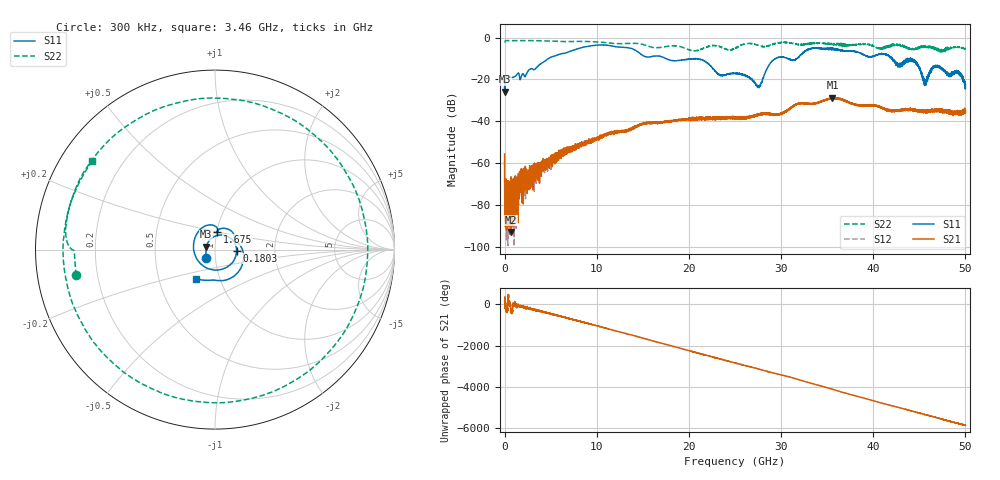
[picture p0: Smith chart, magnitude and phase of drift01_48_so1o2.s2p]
!Created with skrf (http://scikit-rf.org).
# Hz S RI R 50.0
!freq ReS11 ImS11 ReS21 ImS21 ReS12 ImS12 ReS22 ImS22
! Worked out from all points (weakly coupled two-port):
!   10001 points, 300 kHz to 50 GHz, reference 50 ohm
!   highest |S21| = -28.72 dB at 35.58 GHz (marker M1); lowest = -92.9 dB at 660.3 MHz (marker M2)
!   lowest |S11| = -25.8 dB at 5.3 MHz (marker M3), VSWR 1.11, Z = 45.3 + j1.4 ohm
!   |S11| at or under -10 dB: start of sweep to 4.768 GHz; 17.5 GHz to 29.4 GHz (11.9 GHz wide, 50.8 % of centre); 44.07 GHz to end of sweep (the widest 3 of 11)
!   |S22| runs from -7.0 to -1.4 dB; largest |S21 - S12| = 0.0039
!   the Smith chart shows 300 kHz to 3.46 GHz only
!   S11 on the Smith chart (normalised r, x): 300 kHz: 0.90, -0.08; 180.3 MHz: 1.27, -0.01; 1.675 GHz: 1.01, +0.20; 3.46 GHz: 0.77, -0.26
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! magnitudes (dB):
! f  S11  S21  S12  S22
! 300 kHz  -23.3  -55.7  -59.1  -2.1
! 5.3 MHz  -25.8  -74.9  -75.4  -2.1
! 180.3 MHz  -18.4  -74.4  -73.6  -1.5
! 660.3 MHz  -18.9  -92.9  -81.8  -1.5
! 1.675 GHz  -20.1  -67.5  -65.9  -1.4
! 3.46 GHz  -14.3  -61.4  -63.4  -1.5
! 8.335 GHz  -4.8  -50.4  -52.2  -1.8
! 16.67 GHz  -8.8  -40.7  -40.8  -4.8
! 21.19 GHz  -10.3  -39.0  -38.7  -5.8
! 25 GHz  -17.1  -38.9  -38.4  -5.1
! 27.58 GHz  -23.8  -36.8  -36.7  -3.9
! 29.28 GHz  -10.3  -36.8  -37.0  -2.8
! 31.45 GHz  -10.8  -32.3  -32.5  -3.0
! 33.34 GHz  -5.1  -31.5  -31.7  -2.7
! 35.58 GHz  -5.3  -28.7  -29.1  -2.7
! 41.67 GHz  -9.0  -34.6  -34.8  -4.4
! 42.74 GHz  -12.6  -34.8  -34.9  -3.2
! 44.44 GHz  -11.3  -34.6  -34.3  -5.1
! 45.63 GHz  -20.3  -35.5  -34.9  -4.1
! 46.97 GHz  -13.3  -35.3  -34.7  -5.9
! 49.21 GHz  -15.9  -36.0  -35.9  -4.4
! 50 GHz  -22.5  -35.7  -35.1  -5.4
